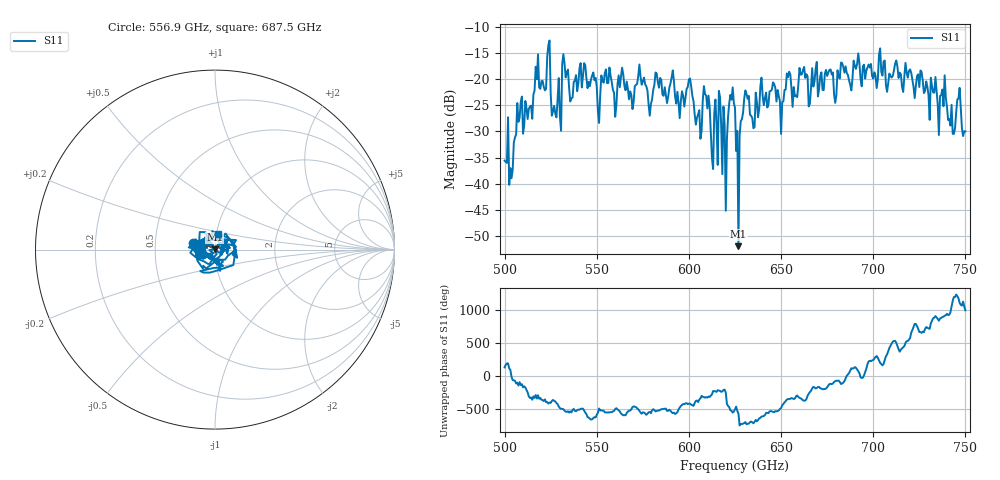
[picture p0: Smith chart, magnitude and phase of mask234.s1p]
!Created with skrf (http://scikit-rf.org).
# GHz S MA R 50.0
!freq magS11 angS11
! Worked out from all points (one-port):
!   401 points, 500 GHz to 750 GHz, reference 50 ohm
!   lowest |S11| = -52.0 dB at 626.9 GHz (marker M1), VSWR 1.01, Z = 49.8 + j0.151 ohm
!   |S11| at or under -10 dB: start of sweep to end of sweep
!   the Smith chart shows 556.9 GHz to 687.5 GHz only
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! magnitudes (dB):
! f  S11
! 500 GHz  -35.6
! 503.8 GHz  -39.0
! 508.1 GHz  -27.4
! 513.8 GHz  -25.2
! 516.9 GHz  -17.6
! 523.8 GHz  -13.4
! 526.9 GHz  -25.1
! 531.2 GHz  -17.1
! 562.5 GHz  -21.5
! 593.8 GHz  -22.4
! 600 GHz  -20.0
! 605.6 GHz  -25.9
! 609.4 GHz  -23.1
! 612.5 GHz  -35.1
! 617.5 GHz  -28.8
! 619.4 GHz  -28.7
! 622.5 GHz  -23.0
! 625 GHz  -25.5
! 626.9 GHz  -52.0
! 631.2 GHz  -22.8
! 634.4 GHz  -27.4
! 656.2 GHz  -25.3
! 687.5 GHz  -21.0
! 718.8 GHz  -19.7
! 738.1 GHz  -25.2
! 743.1 GHz  -30.5
! 746.2 GHz  -23.7
! 750 GHz  -30.0
